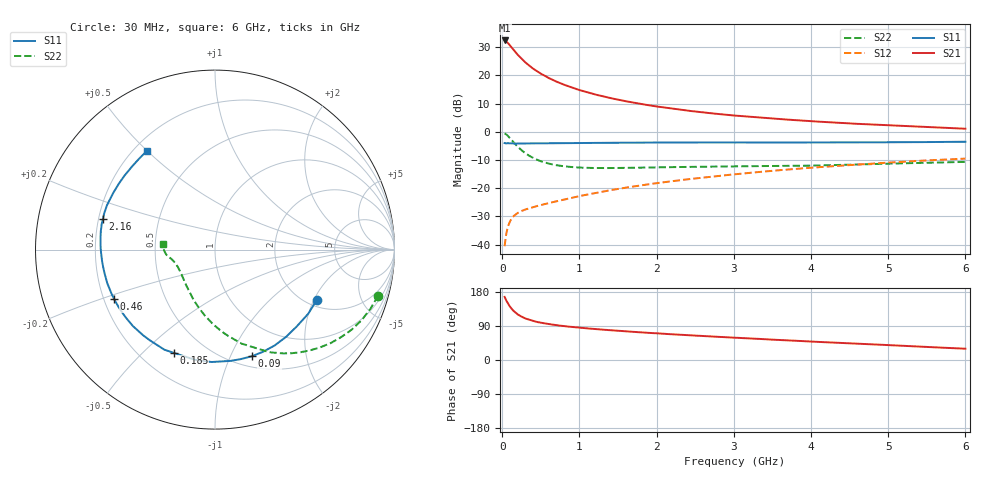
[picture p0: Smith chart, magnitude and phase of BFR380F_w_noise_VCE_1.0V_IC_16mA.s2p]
! Infineon Technologies  Discrete & RF Semiconductors
! BFR380F
! VCE =  1.0 V,  IC =  16 mA
! Common Emitter S-Parameters:  Nov 2015
# GHz  S  MA  R  50
!  f  S11  S21  S12  S22
! GHz  MAG  ANG  MAG  ANG  MAG  ANG  MAG  ANG
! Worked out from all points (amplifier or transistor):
!   206 points, 30 MHz to 6 GHz, reference 50 ohm
!   highest |S21| = 32.4 dB at 30 MHz (marker M1)
!   |S21| within 3 dB of that: start of sweep to 136.4 MHz
!   unconditionally stable (mu >= 1): 1.323 GHz to end of sweep
!   at 200 MHz: K = 0.34, MSG = 28.0 dB, |S12| = -28.8 dB
!   at 1.56 GHz: K = 1.03, MAG = 14.5 dB, |S12| = -20.0 dB
!   at 6 GHz: K = 1.01, MAG = 4.8 dB, |S12| = -9.5 dB
!   lowest NFmin = 0.97 dB at 900 MHz
!   S11 on the Smith chart (normalised r, x): 30 MHz: 2.26, -2.11; 90 MHz: 0.61, -1.21; 185 MHz: 0.33, -0.62; 460 MHz: 0.24, -0.22; 2.16 GHz: 0.22, +0.13; 6 GHz: 0.25, +0.50
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0.03  0.6325 -26.3  41.76 166.5  0.0094 79.5  0.9444 -15.8
0.05  0.6251 -43.4  40.25 157.6  0.0151 72.4  0.9068 -25.7
0.07  0.6292 -58.1  37.87 150.1  0.0198 66.7  0.8551 -34.8
0.09  0.6286 -70.9  35.28 143.7  0.024 62.0  0.8 -42.9
0.11  0.6261 -82.0  32.75 138.0  0.0274 58.2  0.7444 -50.2
0.14  0.6239 -96.1  29.16 130.8  0.0313 53.5  0.6682 -59.5
0.185  0.6194 -111.9  24.66 123.0  0.0352 49.2  0.5724 -70.1
0.2  0.625 -116.8  23.28 120.1  0.0365 48.0  0.5453 -74.1
0.24  0.6223 -125.8  20.43 115.5  0.039 46.4  0.4853 -81.5
0.3  0.6251 -137.0  16.99 109.5  0.0421 45.2  0.4167 -91.4
0.38  0.6245 -146.7  13.86 104.2  0.0455 45.4  0.3568 -101.4
0.46  0.6259 -153.9  11.63 100.0  0.0488 46.4  0.3163 -110.0
0.6  0.6287 -162.6  9.038 94.7  0.0545 49.0  0.2742 -121.7
0.7  0.6293 -167.0  7.794 91.9  0.0588 50.9  0.2567 -128.4
1.04  0.6341 -177.3  5.314 84.5  0.0745 56.1  0.2316 -143.9
1.4  0.6396 175.4  3.969 78.6  0.0923 59.4  0.2282 -153.6
2.02  0.6473 166.6  2.797 70.2  0.1242 61.9  0.2347 -161.4
2.16  0.6477 164.9  2.63 68.4  0.1315 62.1  0.2365 -162.4
3.1  0.649 155.0  1.904 58.0  0.1818 61.9  0.2455 -166.9
4.1  0.6496 144.5  1.517 47.7  0.2366 58.9  0.2539 -169.3
5.1  0.6544 134.8  1.29 38.4  0.29 55.0  0.2753 -175.2
6  0.6683 124.6  1.137 29.8  0.3352 50.1  0.2935 174.3
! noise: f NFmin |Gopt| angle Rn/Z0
0.45  0.99  0.14  165  0.08
0.9  0.97  0.22  162  0.08
1.8  1.22  0.33  179  0.07
1.9  1.29  0.33  -180  0.07
2.4  1.4  0.38  -168  0.08
3.5  1.99  0.48  -155  0.12
